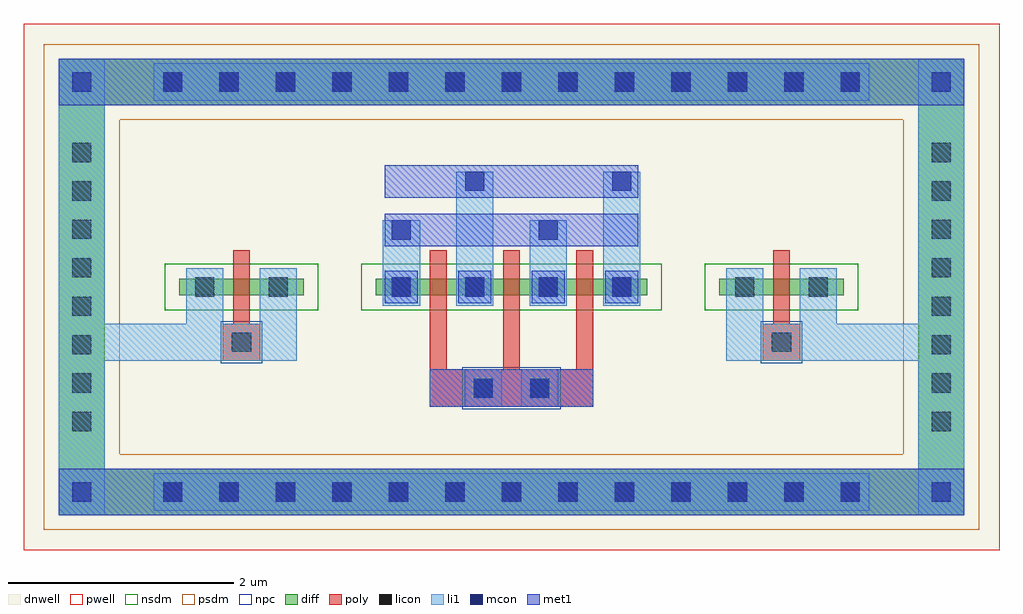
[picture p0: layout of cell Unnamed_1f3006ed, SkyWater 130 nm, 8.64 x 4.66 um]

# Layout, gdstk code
import gdstk
lib = gdstk.Library(unit=1e-6, precision=5e-09)
def R(c, l, rs):  # rectangles x0, y0, x1, y1
    for r in rs: c.add(gdstk.rectangle(r[:2], r[2:], *l))
def A(c, l, x, y, w, h, nx, ny, dx, dy):  # array of equal rectangles
    R(c, l, [(x+i*dx, y+j*dy, x+i*dx+w, y+j*dy+h) for i in range(nx) for j in range(ny)])
def P(c, l, *ps):  # polygons
    for p in ps: c.add(gdstk.Polygon(p, *l))
dnwell = (64, 18)
pwell = (64, 44)
diff = (65, 20)
poly = (66, 20)
licon = (66, 44)
li1 = (67, 20)
mcon = (67, 44)
met1 = (68, 20)
nsdm = (93, 44)
psdm = (94, 20)
npc = (95, 20)

unnamed_1f3006ed = lib.new_cell('Unnamed_1f3006ed')
R(unnamed_1f3006ed, dnwell, [(-4.32,-2.33,4.32,2.33)])
R(unnamed_1f3006ed, pwell, [(-4.32,-2.33,4.32,2.33)])
A(unnamed_1f3006ed, diff, -3.205, -2.02, 0.41, 0.41, 13, 2, 0.5, 3.63)
A(unnamed_1f3006ed, diff, -4.01, -1.395, 0.41, 0.41, 1, 8, 0, 0.34)
A(unnamed_1f3006ed, diff, 3.6, -1.395, 0.41, 0.41, 1, 8, 0, 0.34)
R(unnamed_1f3006ed, diff, [(-3.205,-2.02,3.205,-1.61), (-4.01,-1.395,-3.6,1.395), (3.6,-1.395,4.01,1.395), (-2.94,-0.075,-1.84,0.075), (-1.2,-0.075,1.2,0.075), (1.84,-0.075,2.94,0.075), (-3.205,1.61,3.205,2.02)])
P(unnamed_1f3006ed, diff, [(4.01,2.02),(-4.01,2.02),(-4.01,-1.61),(-3.6,-1.61),(-3.6,1.61),(3.6,1.61),(3.6,-1.61),(-3.6,-1.61),(-4.01,-1.61),(-4.01,-2.02),(4.01,-2.02)])
A(unnamed_1f3006ed, poly, -0.725, -0.73, 0.15, 0.405, 3, 1, 0.65, 0)
A(unnamed_1f3006ed, poly, -0.725, -0.325, 0.15, 0.65, 3, 1, 0.65, 0)
R(unnamed_1f3006ed, poly, [(-0.725,-1.06,0.725,-0.73), (-0.415,-1.06,-0.085,-0.73), (0.085,-1.06,0.415,-0.73), (-2.555,-0.655,-2.225,-0.325), (-2.555,-0.655,-2.225,-0.325), (2.225,-0.655,2.555,-0.325), (2.225,-0.655,2.555,-0.325), (-2.465,-0.325,-2.315,0.325), (2.315,-0.325,2.465,0.325)])
A(unnamed_1f3006ed, licon, -3.085, -1.9, 0.17, 0.17, 13, 2, 0.5, 3.63)
A(unnamed_1f3006ed, licon, -3.89, -1.275, 0.17, 0.17, 1, 8, 0, 0.34)
A(unnamed_1f3006ed, licon, 3.72, -1.275, 0.17, 0.17, 1, 8, 0, 0.34)
A(unnamed_1f3006ed, licon, -1.06, -0.085, 0.17, 0.17, 4, 1, 0.65, 0)
R(unnamed_1f3006ed, licon, [(-0.335,-0.98,-0.165,-0.81), (0.165,-0.98,0.335,-0.81), (-2.475,-0.575,-2.305,-0.405), (2.305,-0.575,2.475,-0.405), (-2.8,-0.085,-2.63,0.085), (-2.15,-0.085,-1.98,0.085), (1.98,-0.085,2.15,0.085), (2.63,-0.085,2.8,0.085)])
A(unnamed_1f3006ed, li1, -3.165, -1.98, 0.33, 0.33, 13, 2, 0.5, 3.63)
A(unnamed_1f3006ed, li1, -3.97, -1.355, 0.33, 0.33, 1, 8, 0, 0.34)
A(unnamed_1f3006ed, li1, 3.64, -1.355, 0.33, 0.33, 1, 8, 0, 0.34)
R(unnamed_1f3006ed, li1, [(-4.01,-2.02,-3.6,-1.61), (3.6,-2.02,4.01,-1.61), (-3.165,-1.98,3.165,-1.65), (-3.89,-1.9,-3.72,-1.73), (-3.89,-1.9,-3.72,-1.73), (3.72,-1.9,3.89,-1.73), (3.72,-1.9,3.89,-1.73), (-4.01,-1.61,-3.6,1.61), (3.6,-1.61,4.01,1.61), (-0.415,-1.06,-0.085,-0.73), (0.085,-1.06,0.415,-0.73), (-4.01,-0.655,-2.555,-0.325), (-2.88,-0.655,-2.555,-0.325), (-2.88,-0.655,-2.55,-0.165), (-2.555,-0.655,-2.225,-0.325), (-2.23,-0.655,-1.9,-0.165), (-2.225,-0.655,-1.9,-0.325), (1.9,-0.655,2.225,-0.325), (1.9,-0.655,2.23,-0.165), (2.225,-0.655,2.555,-0.325), (2.225,-0.655,4.01,-0.325), (2.55,-0.655,2.88,-0.165), (2.555,-0.655,2.88,-0.325), (-2.88,-0.165,-2.55,0.165), (-2.88,-0.165,-2.55,0.165), (-2.23,-0.165,-1.9,0.165), (-2.23,-0.165,-1.9,0.165), (-1.14,-0.165,-0.81,0.165), (-1.14,-0.165,-0.81,0.165), (-0.49,-0.165,-0.16,0.165), (-0.49,-0.165,-0.16,0.165), (0.16,-0.165,0.49,0.165), (0.16,-0.165,0.49,0.165), (0.81,-0.165,1.14,0.165), (0.81,-0.165,1.14,0.165), (1.9,-0.165,2.23,0.165), (1.9,-0.165,2.23,0.165), (2.55,-0.165,2.88,0.165), (2.55,-0.165,2.88,0.165), (-1.06,-0.085,-0.89,0.085), (-1.06,-0.085,-0.89,0.085), (-0.41,-0.085,-0.24,0.085), (-0.41,-0.085,-0.24,0.085), (0.24,-0.085,0.41,0.085), (0.24,-0.085,0.41,0.085), (0.89,-0.085,1.06,0.085), (0.89,-0.085,1.06,0.085), (-1.14,0.075,-0.81,0.59), (-0.49,0.075,-0.16,1.02), (0.16,0.075,0.49,0.59), (0.81,0.075,1.14,1.02), (-1.06,0.42,-0.89,0.59), (0.24,0.42,0.41,0.59), (-0.41,0.85,-0.24,1.02), (0.89,0.85,1.06,1.02), (-4.01,1.61,-3.6,2.02), (3.6,1.61,4.01,2.02), (-3.165,1.65,3.165,1.98), (-3.89,1.73,-3.72,1.9), (-3.89,1.73,-3.72,1.9), (3.72,1.73,3.89,1.9), (3.72,1.73,3.89,1.9)])
A(unnamed_1f3006ed, mcon, -3.085, -1.9, 0.17, 0.17, 13, 2, 0.5, 3.63)
A(unnamed_1f3006ed, mcon, -1.06, -0.085, 0.17, 0.17, 4, 1, 0.65, 0)
R(unnamed_1f3006ed, mcon, [(-3.89,-1.9,-3.72,-1.73), (3.72,-1.9,3.89,-1.73), (-0.335,-0.98,-0.165,-0.81), (0.165,-0.98,0.335,-0.81), (-1.06,0.42,-0.89,0.59), (0.24,0.42,0.41,0.59), (-0.41,0.85,-0.24,1.02), (0.89,0.85,1.06,1.02), (-3.89,1.73,-3.72,1.9), (3.72,1.73,3.89,1.9)])
A(unnamed_1f3006ed, met1, -3.145, -1.96, 0.29, 0.29, 13, 2, 0.5, 3.63)
R(unnamed_1f3006ed, met1, [(-4.01,-2.02,-3.6,-1.61), (-4.01,-2.02,-3.6,-1.61), (-3.6,-2.02,3.6,-1.61), (3.6,-2.02,4.01,-1.61), (3.6,-2.02,4.01,-1.61), (-3.95,-1.96,-3.66,-1.67), (3.66,-1.96,3.95,-1.67), (-0.725,-1.06,0.725,-0.73), (-0.395,-1.04,-0.105,-0.75), (0.105,-1.04,0.395,-0.75), (-1.12,-0.145,-0.83,0.145), (-1.12,-0.145,-0.83,0.145), (-0.47,-0.145,-0.18,0.145), (-0.47,-0.145,-0.18,0.145), (0.18,-0.145,0.47,0.145), (0.18,-0.145,0.47,0.145), (0.83,-0.145,1.12,0.145), (0.83,-0.145,1.12,0.145), (-1.12,0.36,-0.83,0.65), (-1.12,0.36,1.12,0.65), (0.18,0.36,0.47,0.65), (-1.12,0.79,1.12,1.08), (-0.47,0.79,-0.18,1.08), (0.83,0.79,1.12,1.08), (-4.01,1.61,-3.6,2.02), (-4.01,1.61,-3.6,2.02), (-3.6,1.61,3.6,2.02), (3.6,1.61,4.01,2.02), (3.6,1.61,4.01,2.02), (-3.95,1.67,-3.66,1.96), (3.66,1.67,3.95,1.96)])
R(unnamed_1f3006ed, nsdm, [(-3.07,-0.205,-1.71,0.205), (-1.33,-0.205,1.33,0.205), (1.71,-0.205,3.07,0.205)])
P(unnamed_1f3006ed, psdm, [(4.14,2.15),(-4.14,2.15),(-4.14,-1.48),(-3.47,-1.48),(-3.47,1.48),(3.47,1.48),(3.47,-1.48),(-3.47,-1.48),(-4.14,-1.48),(-4.14,-2.15),(4.14,-2.15)])
R(unnamed_1f3006ed, npc, [(-0.435,-1.08,-0.065,-0.71), (-0.435,-1.08,0.435,-0.71), (-0.435,-1.08,0.435,-0.71), (0.065,-1.08,0.435,-0.71), (-2.575,-0.675,-2.205,-0.305), (2.205,-0.675,2.575,-0.305)])

lib.write_gds('Unnamed_1f3006ed.gds')
